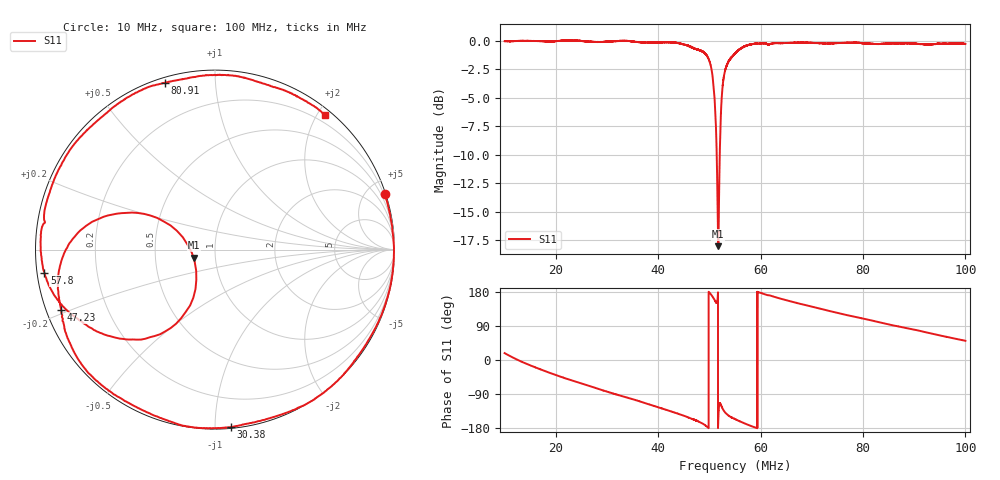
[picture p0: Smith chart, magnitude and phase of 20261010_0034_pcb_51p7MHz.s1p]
# HZ S RI R 50
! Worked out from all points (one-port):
!   20200 points, 10 MHz to 100 MHz, reference 50 ohm
!   lowest |S11| = -18.0 dB at 51.74 MHz (marker M1), VSWR 1.29, Z = 39.3 - j3.58 ohm
!   |S11| at or under -10 dB: 51.43 MHz to 52.03 MHz (596.1 kHz wide, 1.15 % of centre)
!   S11 on the Smith chart (normalised r, x): 10 MHz: 0.09, +6.25; 30.38 MHz: 0.01, -1.09; 47.23 MHz: 0.04, -0.19; 57.8 MHz: 0.02, -0.07; 80.91 MHz: 0.02, +0.74; 100 MHz: 0.09, +2.11
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1e7  0.9457 0.3104
1.47902e7  0.9724 -0.2231
2.12514e7  0.6997 -0.7134
2.519496e7  0.4587 -0.8831
3.037729e7  0.087 -0.9886
3.25028e7  -0.0634 -0.9941
3.825995e7  -0.4508 -0.8709
4.37542e7  -0.7626 -0.6106
4.722542e7  -0.858 -0.3353
4.907021e7  -0.8709 -0.1352
5.005498e7  -0.8069 0.0399
5.067882e7  -0.6603 0.1667
5.108878e7  -0.4833 0.2062
5.145417e7  -0.2589 0.1436
5.173935e7  -0.1174 -0.0447
5.19978e7  -0.1206 -0.2677
5.225625e7  -0.2302 -0.4221
5.267511e7  -0.4283 -0.5009
5.355294e7  -0.6469 -0.4598
5.50056e7  -0.8023 -0.3576
5.779506e7  -0.9511 -0.1291
6.059342e7  -0.9701 0.0921
6.6257e7  -0.8742 0.4393
7.165322e7  -0.693 0.6842
7.75084e7  -0.4374 0.876
8.091278e7  -0.2781 0.9302
8.87598e7  0.1136 0.9679
1.000067e8  0.6127 0.7485
